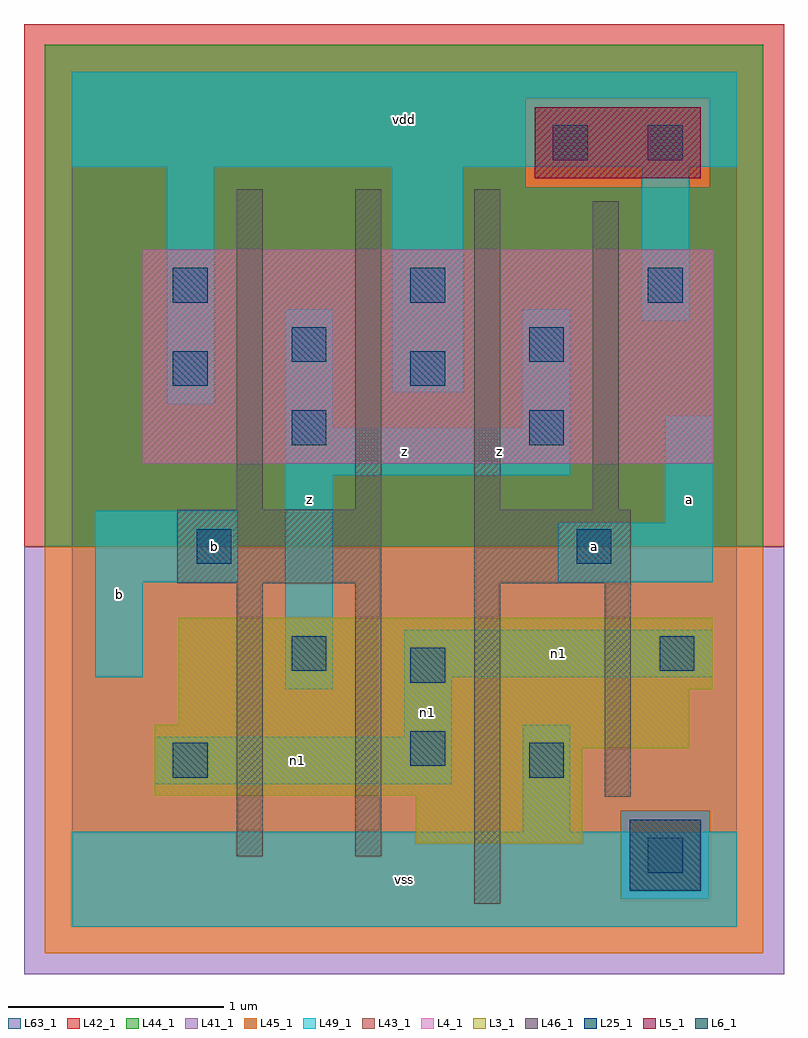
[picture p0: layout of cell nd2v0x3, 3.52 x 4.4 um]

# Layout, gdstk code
import gdstk
lib = gdstk.Library(unit=1e-6, precision=1e-09)
def R(c, l, rs):  # rectangles x0, y0, x1, y1
    for r in rs: c.add(gdstk.rectangle(r[:2], r[2:], *l))
def A(c, l, x, y, w, h, nx, ny, dx, dy):  # array of equal rectangles
    R(c, l, [(x+i*dx, y+j*dy, x+i*dx+w, y+j*dy+h) for i in range(nx) for j in range(ny)])
L3_1 = (3, 1)
L4_1 = (4, 1)
L5_1 = (5, 1)
L6_1 = (6, 1)
L25_1 = (25, 1)
L41_1 = (41, 1)
L42_1 = (42, 1)
L43_1 = (43, 1)
L44_1 = (44, 1)
L45_1 = (45, 1)
L46_1 = (46, 1)
L49_1 = (49, 1)
L63_1 = (63, 1)

nd2v0x3 = lib.new_cell('nd2v0x3')
R(nd2v0x3, L3_1, [(1.595,0.385,2.365,0.605), (0.385,0.605,2.365,0.825), (0.385,0.825,2.86,0.935), (0.495,0.935,2.86,1.1), (0.495,1.1,2.97,1.43)])
R(nd2v0x3, L4_1, [(0.33,2.145,2.97,3.135)])
R(nd2v0x3, L5_1, [(2.145,3.465,2.915,3.795)])
R(nd2v0x3, L6_1, [(2.585,0.165,2.915,0.495)])
A(nd2v0x3, L25_1, 0.47, 2.89, 0.16, 0.16, 3, 1, 1.1, 0)
R(nd2v0x3, L25_1, [(2.67,0.25,2.83,0.41), (0.47,0.69,0.63,0.85), (2.12,0.69,2.28,0.85), (1.57,0.745,1.73,0.905), (1.57,1.13,1.73,1.29), (1.02,1.185,1.18,1.345), (2.725,1.185,2.885,1.345), (0.58,1.68,0.74,1.84), (2.34,1.68,2.5,1.84), (1.02,2.23,1.18,2.39), (2.12,2.23,2.28,2.39), (0.47,2.505,0.63,2.665), (1.57,2.505,1.73,2.665), (1.02,2.615,1.18,2.775), (2.12,2.615,2.28,2.775), (2.23,3.55,2.39,3.71), (2.67,3.55,2.83,3.71)])
R(nd2v0x3, L41_1, [(-0.22,-0.22,3.3,1.76)])
R(nd2v0x3, L42_1, [(-0.22,1.76,3.3,4.18)])
R(nd2v0x3, L43_1, [(2.585,0.165,2.915,0.495), (1.595,0.385,2.365,0.605), (0.385,0.605,2.365,0.825), (0.385,0.825,2.86,0.935), (0.495,0.935,2.86,1.1), (0.495,1.1,2.97,1.43), (0.33,2.145,2.97,3.135), (2.145,3.465,2.915,3.795)])
R(nd2v0x3, L44_1, [(2.545,0.125,2.955,0.535), (-0.125,1.76,3.205,3.425), (-0.125,3.425,2.105,3.835), (2.955,3.425,3.205,3.835), (-0.125,3.835,3.205,4.085)])
R(nd2v0x3, L45_1, [(-0.125,-0.125,3.205,0.125), (-0.125,0.125,2.545,0.535), (2.955,0.125,3.205,0.535), (-0.125,0.535,3.205,1.76), (2.105,3.425,2.955,3.835)])
A(nd2v0x3, L46_1, 0.765, 1.93, 0.12, 1.485, 3, 1, 0.55, 0)
R(nd2v0x3, L46_1, [(1.865,0.105,1.985,1.59), (0.765,0.325,0.885,1.59), (1.315,0.325,1.435,1.59), (2.47,0.6,2.59,1.59), (0.49,1.59,1.435,1.93), (1.865,1.59,2.59,1.93), (2.415,1.93,2.535,3.36)])
R(nd2v0x3, L49_1, [(0,0,3.08,0.44), (2.09,0.44,2.31,0.935), (0.385,0.66,1.76,0.88), (1.54,0.88,1.76,1.155), (0.99,1.1,1.21,2.09), (0.11,1.155,0.33,1.595), (1.54,1.155,2.97,1.375), (0.11,1.595,0.77,1.925), (2.255,1.595,2.97,1.87), (2.75,1.87,2.97,2.365), (0.99,2.09,2.31,2.31), (0.99,2.31,1.21,2.86), (2.09,2.31,2.31,2.86), (0.44,2.42,0.66,3.52), (1.485,2.475,1.815,3.52), (2.64,2.805,2.86,3.52), (0,3.52,3.08,3.96)])
R(nd2v0x3, L63_1, [(0,0,3.08,3.96)])
nd2v0x3.add(gdstk.Label('b', (0.22,1.54), layer=49, texttype=1))
nd2v0x3.add(gdstk.Label('b', (0.66,1.76), layer=49, texttype=1))
nd2v0x3.add(gdstk.Label('z', (1.1,1.98), layer=49, texttype=1))
nd2v0x3.add(gdstk.Label('vss', (1.54,0.22), layer=49, texttype=1))
nd2v0x3.add(gdstk.Label('n1', (1.045,0.77), layer=49, texttype=1))
nd2v0x3.add(gdstk.Label('n1', (1.65,0.99), layer=49, texttype=1))
nd2v0x3.add(gdstk.Label('z', (1.98,2.2), layer=49, texttype=1))
nd2v0x3.add(gdstk.Label('z', (1.54,2.2), layer=49, texttype=1))
nd2v0x3.add(gdstk.Label('vdd', (1.54,3.74), layer=49, texttype=1))
nd2v0x3.add(gdstk.Label('a', (2.42,1.76), layer=49, texttype=1))
nd2v0x3.add(gdstk.Label('n1', (2.255,1.265), layer=49, texttype=1))
nd2v0x3.add(gdstk.Label('a', (2.86,1.98), layer=49, texttype=1))

lib.write_gds('nd2v0x3.gds')
